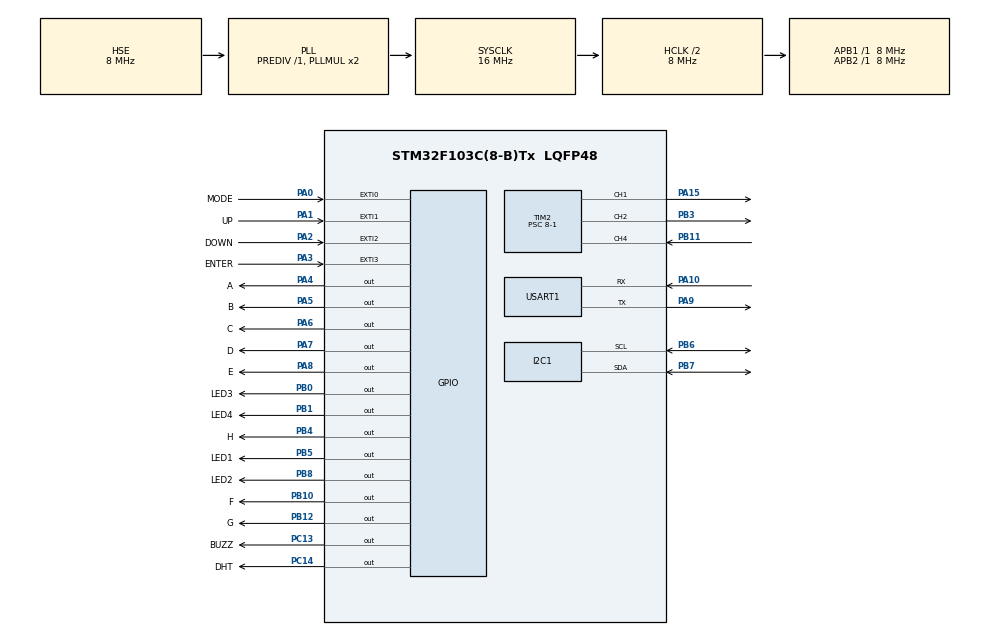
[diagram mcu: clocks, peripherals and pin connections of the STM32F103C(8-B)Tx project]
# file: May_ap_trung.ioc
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Mcu.Family=STM32F1
Mcu.Name=STM32F103C(8-B)Tx
Mcu.Package=LQFP48
NVIC.EXTI0_IRQn=true\:0\:0\:true\:false\:true\:true\:true\:true
NVIC.EXTI1_IRQn=true\:0\:0\:true\:false\:true\:true\:true\:true
NVIC.EXTI2_IRQn=true\:0\:0\:true\:false\:true\:true\:true\:true
NVIC.EXTI3_IRQn=true\:0\:0\:true\:false\:true\:true\:true\:true
NVIC.PriorityGroup=NVIC_PRIORITYGROUP_4
NVIC.TIM2_IRQn=true\:0\:0\:false\:false\:true\:true\:true\:true
NVIC.TIM3_IRQn=true\:0\:0\:true\:false\:true\:true\:true\:true
PA0-WKUP.GPIO_Label=MODE
PA0-WKUP.GPIO_ModeDefaultEXTI=GPIO_MODE_IT_FALLING
PA0-WKUP.GPIO_PuPd=GPIO_PULLUP
PA0-WKUP.Signal=GPXTI0
PA1.GPIO_Label=UP
PA1.GPIO_ModeDefaultEXTI=GPIO_MODE_IT_FALLING
PA1.GPIO_PuPd=GPIO_PULLUP
PA1.Signal=GPXTI1
PA10.Mode=Asynchronous
PA10.Signal=USART1_RX
PA13.Mode=Serial_Wire
PA13.Signal=SYS_JTMS-SWDIO
PA14.Mode=Serial_Wire
PA14.Signal=SYS_JTCK-SWCLK
PA15.Signal=S_TIM2_CH1_ETR
PA2.GPIO_Label=DOWN
PA2.GPIO_ModeDefaultEXTI=GPIO_MODE_IT_FALLING
PA2.GPIO_PuPd=GPIO_PULLUP
PA2.Signal=GPXTI2
PA3.GPIO_Label=ENTER
PA3.GPIO_ModeDefaultEXTI=GPIO_MODE_IT_FALLING
PA3.GPIO_PuPd=GPIO_PULLUP
PA3.Signal=GPXTI3
PA4.GPIO_Label=A
PA4.Signal=GPIO_Output
PA5.GPIO_Label=B
PA5.Signal=GPIO_Output
PA6.GPIO_Label=C
PA6.Signal=GPIO_Output
PA7.GPIO_Label=D
PA7.Signal=GPIO_Output
PA8.GPIO_Label=E
PA8.Signal=GPIO_Output
PA9.Mode=Asynchronous
PA9.Signal=USART1_TX
PB0.GPIO_Label=LED3
PB0.Signal=GPIO_Output
PB1.GPIO_Label=LED4
PB1.Signal=GPIO_Output
PB10.GPIO_Label=F
PB10.Signal=GPIO_Output
PB11.Signal=S_TIM2_CH4
PB12.GPIO_Label=G
PB12.Signal=GPIO_Output
PB3.Signal=S_TIM2_CH2
PB4.GPIO_Label=H
PB4.Signal=GPIO_Output
PB5.GPIO_Label=LED1
PB5.Signal=GPIO_Output
PB6.Mode=I2C
PB6.Signal=I2C1_SCL
PB7.Mode=I2C
PB7.Signal=I2C1_SDA
PB8.GPIO_Label=LED2
PB8.Signal=GPIO_Output
PC13-TAMPER-RTC.GPIO_Label=BUZZ
PC13-TAMPER-RTC.Signal=GPIO_Output
PC14-OSC32_IN.GPIO_Label=DHT
PC14-OSC32_IN.Signal=GPIO_Output
PD0-OSC_IN.Mode=HSE-External-Oscillator
PD0-OSC_IN.Signal=RCC_OSC_IN
PD1-OSC_OUT.Mode=HSE-External-Oscillator
PD1-OSC_OUT.Signal=RCC_OSC_OUT
ProjectManager.HeapSize=0x200
ProjectManager.StackSize=0x400
ProjectManager.TargetToolchain=MDK-ARM V5
RCC.AHBCLKDivider=RCC_SYSCLK_DIV2
RCC.AHBFreq_Value=8000000
RCC.APB1Freq_Value=8000000
RCC.APB1TimFreq_Value=8000000
RCC.APB2Freq_Value=8000000
RCC.APB2TimFreq_Value=8000000
RCC.HCLKFreq_Value=8000000
RCC.PLLSourceVirtual=RCC_PLLSOURCE_HSE
RCC.SYSCLKFreq_VALUE=16000000
RCC.SYSCLKSource=RCC_SYSCLKSOURCE_PLLCLK
RCC.USBFreq_Value=16000000
SH.S_TIM2_CH1_ETR.0=TIM2_CH1,PWM Generation1 CH1
SH.S_TIM2_CH2.0=TIM2_CH2,PWM Generation2 CH2
SH.S_TIM2_CH4.0=TIM2_CH4,Input_Capture4_from_TI4
TIM2.Channel-Input_Capture4_from_TI4=TIM_CHANNEL_4
TIM2.Channel-PWM\ Generation1\ CH1=TIM_CHANNEL_1
TIM2.Channel-PWM\ Generation2\ CH2=TIM_CHANNEL_2
TIM2.Prescaler=8-1
TIM3.Period=5000-1
TIM3.Prescaler=8000-1
TIM4.Prescaler=8-1
USART1.VirtualMode=VM_ASYNC
VP_TIM2_VS_ClockSourceINT.Mode=Internal
VP_TIM3_VS_ClockSourceINT.Mode=Internal
VP_TIM4_VS_ClockSourceINT.Mode=Internal
board=custom

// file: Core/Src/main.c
/* USER CODE BEGIN Header */
/**
  ******************************************************************************
  * @file           : main.c
  * @brief          : Main program body
  ******************************************************************************
  * @attention
  *
  * Copyright (c) 2023 STMicroelectronics.
  * All rights reserved.
  *
  * This software is licensed under terms that can be found in the LICENSE file
  * in the root directory of this software component.
  * If no LICENSE file comes with this software, it is provided AS-IS.
  *
  ******************************************************************************
  */
/* USER CODE END Header */
#include "main.h"

/* USER CODE BEGIN Includes */
#include "variable.h"
#include "stdio.h"
//#include "variable.h"
/* USER CODE END Includes */

I2C_HandleTypeDef hi2c1;

TIM_HandleTypeDef htim2;
TIM_HandleTypeDef htim3;
TIM_HandleTypeDef htim4;

UART_HandleTypeDef huart1;

void SystemClock_Config(void);
static void MX_GPIO_Init(void);
static void MX_I2C1_Init(void);
static void MX_TIM2_Init(void);
static void MX_USART1_UART_Init(void);
static void MX_TIM3_Init(void);
static void MX_TIM4_Init(void);

/* USER CODE BEGIN 0 */
uint32_t time_previous = 0;
uint32_t time_current = 0;
/* USER CODE END 0 */

int main(void)
{

  /* MCU Configuration--------------------------------------------------------*/

  /* Reset of all peripherals, Initializes the Flash interface and the Systick. */
  HAL_Init();

  /* Configure the system clock */
  SystemClock_Config();

  /* Initialize all configured peripherals */
  MX_GPIO_Init();
  MX_I2C1_Init();
  MX_TIM2_Init();
  MX_USART1_UART_Init();
  MX_TIM3_Init();
  MX_TIM4_Init();
  /*USER CODE BEGIN 2*/
	BUZZER_Init(&BUZZER,BUZZ_GPIO_Port,BUZZ_Pin);
	DELAY_TIM_Init(&htim4);
	DHT_Init(&DHT, DHT11, &htim4, DHT_GPIO_Port, DHT_Pin);
	DS3231_Init(&DS3231, &hi2c1);
	DS3231_SetTime(&DS3231,0,0,0);
	DS3231_SetDate(&DS3231,0,0,0,0);
	FAN_Init(&FAN,&htim2,TIM_CHANNEL_1);
	HEATER_Init(&HEATER,&htim2,TIM_CHANNEL_2);
	IR_Init(&IR,&htim2,TIM_CHANNEL_4);
	HAL_TIM_Base_Start_IT(&htim3);
	//LED7SEG_STATE(1,1,1,1);
  /* USER CODE END 2 */

  /* Infinite loop */
  while (1)
  {

    /* USER CODE BEGIN 3 */
		if(mode == RUN)
		{
			IR_handle();
			button_handle();
			time_current = HAL_GetTick();
//			if ((time_current - time_previous) > 100)
//			{
//				sensor_read();
//				sensor_handle();
//				time_previous = time_current;
//			}
			led7_display();
		}
		else if(mode == SETTING)
		{
			IR_handle();
			button_handle();
			led7_display();
		}
		else if(mode == TEST)
		{
			//hardware test
			IR_handle();
			button_handle();
			LED7_Test();
			DHT_Test();
			//function test
		}
  }
  /* USER CODE END 3 */
}

void SystemClock_Config(void)
{
  RCC_OscInitTypeDef RCC_OscInitStruct = {0};
  RCC_ClkInitTypeDef RCC_ClkInitStruct = {0};

  /** Initializes the RCC Oscillators according to the specified parameters
  * in the RCC_OscInitTypeDef structure.
  */
  RCC_OscInitStruct.OscillatorType = RCC_OSCILLATORTYPE_HSE;
  RCC_OscInitStruct.HSEState = RCC_HSE_ON;
  RCC_OscInitStruct.HSEPredivValue = RCC_HSE_PREDIV_DIV1;
  RCC_OscInitStruct.HSIState = RCC_HSI_ON;
  RCC_OscInitStruct.PLL.PLLState = RCC_PLL_ON;
  RCC_OscInitStruct.PLL.PLLSource = RCC_PLLSOURCE_HSE;
  RCC_OscInitStruct.PLL.PLLMUL = RCC_PLL_MUL2;
  if (HAL_RCC_OscConfig(&RCC_OscInitStruct) != HAL_OK)
  {
    Error_Handler();
  }

  /** Initializes the CPU, AHB and APB buses clocks
  */
  RCC_ClkInitStruct.ClockType = RCC_CLOCKTYPE_HCLK|RCC_CLOCKTYPE_SYSCLK
                              |RCC_CLOCKTYPE_PCLK1|RCC_CLOCKTYPE_PCLK2;
  RCC_ClkInitStruct.SYSCLKSource = RCC_SYSCLKSOURCE_PLLCLK;
  RCC_ClkInitStruct.AHBCLKDivider = RCC_SYSCLK_DIV2;
  RCC_ClkInitStruct.APB1CLKDivider = RCC_HCLK_DIV1;
  RCC_ClkInitStruct.APB2CLKDivider = RCC_HCLK_DIV1;

  if (HAL_RCC_ClockConfig(&RCC_ClkInitStruct, FLASH_LATENCY_0) != HAL_OK)
  {
    Error_Handler();
  }
}

static void MX_I2C1_Init(void)
{

  hi2c1.Instance = I2C1;
  hi2c1.Init.ClockSpeed = 100000;
  hi2c1.Init.DutyCycle = I2C_DUTYCYCLE_2;
  hi2c1.Init.OwnAddress1 = 0;
  hi2c1.Init.AddressingMode = I2C_ADDRESSINGMODE_7BIT;
  hi2c1.Init.DualAddressMode = I2C_DUALADDRESS_DISABLE;
  hi2c1.Init.OwnAddress2 = 0;
  hi2c1.Init.GeneralCallMode = I2C_GENERALCALL_DISABLE;
  hi2c1.Init.NoStretchMode = I2C_NOSTRETCH_DISABLE;
  if (HAL_I2C_Init(&hi2c1) != HAL_OK)
  {
    Error_Handler();
  }

}

static void MX_TIM2_Init(void)
{

  TIM_ClockConfigTypeDef sClockSourceConfig = {0};
  TIM_MasterConfigTypeDef sMasterConfig = {0};
  TIM_OC_InitTypeDef sConfigOC = {0};
  TIM_IC_InitTypeDef sConfigIC = {0};

  htim2.Instance = TIM2;
  htim2.Init.Prescaler = 8-1;
  htim2.Init.CounterMode = TIM_COUNTERMODE_UP;
  htim2.Init.Period = 65535;
  htim2.Init.ClockDivision = TIM_CLOCKDIVISION_DIV1;
  htim2.Init.AutoReloadPreload = TIM_AUTORELOAD_PRELOAD_DISABLE;
  if (HAL_TIM_Base_Init(&htim2) != HAL_OK)
  {
    Error_Handler();
  }
  sClockSourceConfig.ClockSource = TIM_CLOCKSOURCE_INTERNAL;
  if (HAL_TIM_ConfigClockSource(&htim2, &sClockSourceConfig) != HAL_OK)
  {
    Error_Handler();
  }
  if (HAL_TIM_PWM_Init(&htim2) != HAL_OK)
  {
    Error_Handler();
  }
  if (HAL_TIM_IC_Init(&htim2) != HAL_OK)
  {
    Error_Handler();
  }
  sMasterConfig.MasterOutputTrigger = TIM_TRGO_RESET;
  sMasterConfig.MasterSlaveMode = TIM_MASTERSLAVEMODE_DISABLE;
  if (HAL_TIMEx_MasterConfigSynchronization(&htim2, &sMasterConfig) != HAL_OK)
  {
    Error_Handler();
  }
  sConfigOC.OCMode = TIM_OCMODE_PWM1;
  sConfigOC.Pulse = 0;
  sConfigOC.OCPolarity = TIM_OCPOLARITY_HIGH;
  sConfigOC.OCFastMode = TIM_OCFAST_DISABLE;
  if (HAL_TIM_PWM_ConfigChannel(&htim2, &sConfigOC, TIM_CHANNEL_1) != HAL_OK)
  {
    Error_Handler();
  }
  if (HAL_TIM_PWM_ConfigChannel(&htim2, &sConfigOC, TIM_CHANNEL_2) != HAL_OK)
  {
    Error_Handler();
  }
  sConfigIC.ICPolarity = TIM_INPUTCHANNELPOLARITY_RISING;
  sConfigIC.ICSelection = TIM_ICSELECTION_DIRECTTI;
  sConfigIC.ICPrescaler = TIM_ICPSC_DIV1;
  sConfigIC.ICFilter = 0;
  if (HAL_TIM_IC_ConfigChannel(&htim2, &sConfigIC, TIM_CHANNEL_4) != HAL_OK)
  {
    Error_Handler();
  }
  HAL_TIM_MspPostInit(&htim2);

}

static void MX_TIM3_Init(void)
{

  TIM_ClockConfigTypeDef sClockSourceConfig = {0};
  TIM_MasterConfigTypeDef sMasterConfig = {0};

  htim3.Instance = TIM3;
  htim3.Init.Prescaler = 8000-1;
  htim3.Init.CounterMode = TIM_COUNTERMODE_UP;
  htim3.Init.Period = 5000-1;
  htim3.Init.ClockDivision = TIM_CLOCKDIVISION_DIV1;
  htim3.Init.AutoReloadPreload = TIM_AUTORELOAD_PRELOAD_DISABLE;
  if (HAL_TIM_Base_Init(&htim3) != HAL_OK)
  {
    Error_Handler();
  }
  sClockSourceConfig.ClockSource = TIM_CLOCKSOURCE_INTERNAL;
  if (HAL_TIM_ConfigClockSource(&htim3, &sClockSourceConfig) != HAL_OK)
  {
    Error_Handler();
  }
  sMasterConfig.MasterOutputTrigger = TIM_TRGO_RESET;
  sMasterConfig.MasterSlaveMode = TIM_MASTERSLAVEMODE_DISABLE;
  if (HAL_TIMEx_MasterConfigSynchronization(&htim3, &sMasterConfig) != HAL_OK)
  {
    Error_Handler();
  }

}

static void MX_TIM4_Init(void)
{

  TIM_ClockConfigTypeDef sClockSourceConfig = {0};
  TIM_MasterConfigTypeDef sMasterConfig = {0};

  htim4.Instance = TIM4;
  htim4.Init.Prescaler = 8-1;
  htim4.Init.CounterMode = TIM_COUNTERMODE_UP;
  htim4.Init.Period = 65535;
  htim4.Init.ClockDivision = TIM_CLOCKDIVISION_DIV1;
  htim4.Init.AutoReloadPreload = TIM_AUTORELOAD_PRELOAD_DISABLE;
  if (HAL_TIM_Base_Init(&htim4) != HAL_OK)
  {
    Error_Handler();
  }
  sClockSourceConfig.ClockSource = TIM_CLOCKSOURCE_INTERNAL;
  if (HAL_TIM_ConfigClockSource(&htim4, &sClockSourceConfig) != HAL_OK)
  {
    Error_Handler();
  }
  sMasterConfig.MasterOutputTrigger = TIM_TRGO_RESET;
  sMasterConfig.MasterSlaveMode = TIM_MASTERSLAVEMODE_DISABLE;
  if (HAL_TIMEx_MasterConfigSynchronization(&htim4, &sMasterConfig) != HAL_OK)
  {
    Error_Handler();
  }

}

static void MX_USART1_UART_Init(void)
{

  huart1.Instance = USART1;
  huart1.Init.BaudRate = 115200;
  huart1.Init.WordLength = UART_WORDLENGTH_8B;
  huart1.Init.StopBits = UART_STOPBITS_1;
  huart1.Init.Parity = UART_PARITY_NONE;
  huart1.Init.Mode = UART_MODE_TX_RX;
  huart1.Init.HwFlowCtl = UART_HWCONTROL_NONE;
  huart1.Init.OverSampling = UART_OVERSAMPLING_16;
  if (HAL_UART_Init(&huart1) != HAL_OK)
  {
    Error_Handler();
  }

}

static void MX_GPIO_Init(void)
{
  GPIO_InitTypeDef GPIO_InitStruct = {0};

  /* GPIO Ports Clock Enable */
  __HAL_RCC_GPIOC_CLK_ENABLE();
  __HAL_RCC_GPIOD_CLK_ENABLE();
  __HAL_RCC_GPIOA_CLK_ENABLE();
  __HAL_RCC_GPIOB_CLK_ENABLE();

  /*Configure GPIO pin Output Level */
  HAL_GPIO_WritePin(GPIOC, BUZZ_Pin|DHT_Pin, GPIO_PIN_RESET);

  /*Configure GPIO pin Output Level */
  HAL_GPIO_WritePin(GPIOA, A_Pin|B_Pin|C_Pin|D_Pin
                          |E_Pin, GPIO_PIN_RESET);

  /*Configure GPIO pin Output Level */
  HAL_GPIO_WritePin(GPIOB, LED3_Pin|LED4_Pin|F_Pin|G_Pin
                          |H_Pin|LED1_Pin|LED2_Pin, GPIO_PIN_RESET);

  /*Configure GPIO pins : BUZZ_Pin DHT_Pin */
  GPIO_InitStruct.Pin = BUZZ_Pin|DHT_Pin;
  GPIO_InitStruct.Mode = GPIO_MODE_OUTPUT_PP;
  GPIO_InitStruct.Pull = GPIO_NOPULL;
  GPIO_InitStruct.Speed = GPIO_SPEED_FREQ_LOW;
  HAL_GPIO_Init(GPIOC, &GPIO_InitStruct);

  /*Configure GPIO pins : MODE_Pin UP_Pin DOWN_Pin ENTER_Pin */
  GPIO_InitStruct.Pin = MODE_Pin|UP_Pin|DOWN_Pin|ENTER_Pin;
  GPIO_InitStruct.Mode = GPIO_MODE_IT_FALLING;
  GPIO_InitStruct.Pull = GPIO_PULLUP;
  HAL_GPIO_Init(GPIOA, &GPIO_InitStruct);

  /*Configure GPIO pins : A_Pin B_Pin C_Pin D_Pin
                           E_Pin */
  GPIO_InitStruct.Pin = A_Pin|B_Pin|C_Pin|D_Pin
                          |E_Pin;
  GPIO_InitStruct.Mode = GPIO_MODE_OUTPUT_PP;
  GPIO_InitStruct.Pull = GPIO_NOPULL;
  GPIO_InitStruct.Speed = GPIO_SPEED_FREQ_LOW;
  HAL_GPIO_Init(GPIOA, &GPIO_InitStruct);

  /*Configure GPIO pins : LED3_Pin LED4_Pin F_Pin G_Pin
                           H_Pin LED1_Pin LED2_Pin */
  GPIO_InitStruct.Pin = LED3_Pin|LED4_Pin|F_Pin|G_Pin
                          |H_Pin|LED1_Pin|LED2_Pin;
  GPIO_InitStruct.Mode = GPIO_MODE_OUTPUT_PP;
  GPIO_InitStruct.Pull = GPIO_NOPULL;
  GPIO_InitStruct.Speed = GPIO_SPEED_FREQ_LOW;
  HAL_GPIO_Init(GPIOB, &GPIO_InitStruct);

  /* EXTI interrupt init*/
  HAL_NVIC_SetPriority(EXTI0_IRQn, 0, 0);
  HAL_NVIC_EnableIRQ(EXTI0_IRQn);

  HAL_NVIC_SetPriority(EXTI1_IRQn, 0, 0);
  HAL_NVIC_EnableIRQ(EXTI1_IRQn);

  HAL_NVIC_SetPriority(EXTI2_IRQn, 0, 0);
  HAL_NVIC_EnableIRQ(EXTI2_IRQn);

  HAL_NVIC_SetPriority(EXTI3_IRQn, 0, 0);
  HAL_NVIC_EnableIRQ(EXTI3_IRQn);

}

void Error_Handler(void)
{
  __disable_irq();
  while (1)
  {
  }
}
